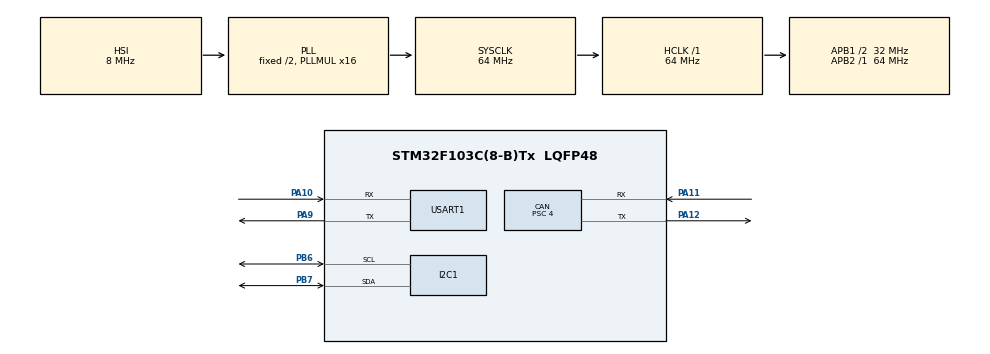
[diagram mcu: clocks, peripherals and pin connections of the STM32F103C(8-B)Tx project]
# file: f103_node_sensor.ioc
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CAN.BS1=CAN_BS1_13TQ
CAN.BS2=CAN_BS2_2TQ
CAN.CalculateBaudRate=500000
CAN.CalculateTimeBit=2000
CAN.CalculateTimeQuantum=125.0
CAN.Prescaler=4
I2C1.I2C_Mode=I2C_Fast
I2C1.OwnAddress=0x68
Mcu.Family=STM32F1
Mcu.Name=STM32F103C(8-B)Tx
Mcu.Package=LQFP48
NVIC.CAN1_RX1_IRQn=true\:0\:0\:false\:false\:true\:true\:true\:true
NVIC.I2C1_EV_IRQn=true\:0\:0\:false\:false\:true\:true\:true\:true
NVIC.PriorityGroup=NVIC_PRIORITYGROUP_4
PA10.Mode=Asynchronous
PA10.Signal=USART1_RX
PA11.Mode=CAN_Activate
PA11.Signal=CAN_RX
PA12.Mode=CAN_Activate
PA12.Signal=CAN_TX
PA13.Mode=Serial_Wire
PA13.Signal=SYS_JTMS-SWDIO
PA14.Mode=Serial_Wire
PA14.Signal=SYS_JTCK-SWCLK
PA9.Mode=Asynchronous
PA9.Signal=USART1_TX
PB6.Mode=I2C
PB6.Signal=I2C1_SCL
PB7.Mode=I2C
PB7.Signal=I2C1_SDA
ProjectManager.HeapSize=0x200
ProjectManager.StackSize=0x400
ProjectManager.TargetToolchain=STM32CubeIDE
RCC.AHBFreq_Value=64000000
RCC.APB1CLKDivider=RCC_HCLK_DIV2
RCC.APB1Freq_Value=32000000
RCC.APB1TimFreq_Value=64000000
RCC.APB2Freq_Value=64000000
RCC.APB2TimFreq_Value=64000000
RCC.HCLKFreq_Value=64000000
RCC.PLLMUL=RCC_PLL_MUL16
RCC.SYSCLKFreq_VALUE=64000000
RCC.SYSCLKSource=RCC_SYSCLKSOURCE_PLLCLK
RCC.USBFreq_Value=64000000
USART1.VirtualMode=VM_ASYNC
board=custom

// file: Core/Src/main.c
/* USER CODE BEGIN Header */
/**
  ******************************************************************************
  * @file           : main.c
  * @brief          : Main program body
  ******************************************************************************
  * @attention
  *
  * Copyright (c) 2026 STMicroelectronics.
  * All rights reserved.
  *
  * This software is licensed under terms that can be found in the LICENSE file
  * in the root directory of this software component.
  * If no LICENSE file comes with this software, it is provided AS-IS.
  *
  ******************************************************************************
  */
/* USER CODE END Header */
#include "main.h"
#include "can.h"
#include "i2c.h"
#include "usart.h"
#include "gpio.h"

/* USER CODE BEGIN Includes */
#include <string.h>
#include "debug.h"
#include "mpu6050.h"
#include "can_protocol.h"
/* USER CODE END Includes */

/* USER CODE BEGIN PD */
/* CAN_ID_ACCEL / CAN_ID_GYRO / CAN_AXES_DLC now live in can_protocol.h,
   the file this node shares with the receiver (f401_mcp2515_node). */
#define CAN_TIMEOUT_MS    100

/* ---- Rate experiment knobs --------------------------------------------
   Requested sampling period. 100 ms = 10 Hz is the normal setting; drop it
   to 10 or 5 to push the loop until it can no longer keep up. */
#define SAMPLE_PERIOD_MS  100

/* Per-sample UART line. This is the expensive part - about 3.5 ms at 115200
   baud - and it sits directly in the sampling path. Set to 0 to run the same
   rate without it and see how much of the shortfall it was responsible for.
   The once-a-second summary is printed either way. */
#define LOG_EVERY_SAMPLE  1

/* Order in which the two frames of each sample are handed to the controller.
   0 = accel then gyro (normal), 1 = gyro then accel.

   The bus is idle when the first frame is queued, so it starts transmitting
   at once and the order on the wire follows the call order. Under receiver
   saturation one message type survives ~90% of the time; swapping the order
   tells whether that follows a frame's position in the pair (a timing
   effect) or its identifier. */
#define SEND_GYRO_FIRST   0

#define STATS_PERIOD_MS   1000u
/* ----------------------------------------------------------------------- */
/* USER CODE END PD */

/* USER CODE BEGIN PV */
CAN_TxHeaderTypeDef TxHeader = {0};
uint8_t TxData[8];
uint32_t TxMailbox;

/* Rate-experiment counters, reset every STATS_PERIOD_MS. */
static uint32_t samples;
static uint32_t txFailures;
static uint32_t readFailures;
static uint32_t statsTick;
/* USER CODE END PV */

void SystemClock_Config(void);

/* USER CODE BEGIN 0 */
/* Returns false when the frame could not be handed to the controller, so the
   caller can count losses instead of only watching them scroll past. */
static bool CAN_SendFrame(uint32_t stdId, const uint8_t *data, uint8_t dlc)
{
  uint32_t tick = HAL_GetTick();

  while (HAL_CAN_GetTxMailboxesFreeLevel(&hcan) == 0)
  {
    if (HAL_GetTick() - tick > CAN_TIMEOUT_MS)
    {
      LOG("CAN TX timeout (id=0x%X)\r\n", (unsigned int)stdId);
      return false;
    }
  }

  TxHeader.StdId = stdId;
  TxHeader.DLC = dlc;
  memcpy(TxData, data, dlc);

  if (HAL_CAN_AddTxMessage(&hcan, &TxHeader, TxData, &TxMailbox) != HAL_OK)
  {
    LOG("CAN TX failed (id=0x%X)\r\n", (unsigned int)stdId);
    return false;
  }

  return true;
}
/* USER CODE END 0 */

int main(void)
{

  /* MCU Configuration--------------------------------------------------------*/

  /* Reset of all peripherals, Initializes the Flash interface and the Systick. */
  HAL_Init();

  /* Configure the system clock */
  SystemClock_Config();

  /* Initialize all configured peripherals */
  MX_GPIO_Init();
  MX_CAN_Init();
  MX_I2C1_Init();
  MX_USART1_UART_Init();
  /* USER CODE BEGIN 2 */
  // CAN filter setup. This node only transmits, so a filter is not needed
  // for reception; it is harmless and follows the CubeMX convention.
  CAN_FilterTypeDef canFilterConfig;
  canFilterConfig.FilterBank = 0;
  canFilterConfig.FilterMode = CAN_FILTERMODE_IDMASK;
  canFilterConfig.FilterScale = CAN_FILTERSCALE_32BIT;
  canFilterConfig.FilterIdHigh = 0x0000;
  canFilterConfig.FilterIdLow = 0x0000;
  canFilterConfig.FilterMaskIdHigh = 0x0000;
  canFilterConfig.FilterMaskIdLow = 0x0000;
  canFilterConfig.FilterFIFOAssignment = CAN_FILTER_FIFO0;
  canFilterConfig.FilterActivation = ENABLE;
  canFilterConfig.SlaveStartFilterBank = 14;
  if (HAL_CAN_ConfigFilter(&hcan, &canFilterConfig) != HAL_OK)
  {
    Error_Handler();
  }
  if (HAL_CAN_Start(&hcan) != HAL_OK)
  {
    Error_Handler();
  }

  TxHeader.ExtId = 0x00;
  TxHeader.IDE = CAN_ID_STD;
  TxHeader.RTR = CAN_RTR_DATA;
  TxHeader.TransmitGlobalTime = DISABLE;

  if (!MPU6050_Init(&hi2c1))
  {
    LOG("MPU6050 init FAILED (WHO_AM_I mismatch or I2C error)\r\n");
    Error_Handler();
  }
  LOG("MPU6050 OK\r\n");

  /* Calibration failure is not fatal: the bias stays at zero, the node keeps
     streaming, and the log says the data is uncorrected. Halting here would
     trade a known accuracy loss for a dead node. */
  LOG("calibrating gyro - keep the board still...\r\n");

  bool calibrated = MPU6050_CalibrateGyro(&hi2c1);
  int16_t bias[3];
  int16_t spread[3];
  MPU6050_GetGyroBias(bias);
  MPU6050_GetGyroCalSpread(spread);

  /* The spread is printed either way. It says how still the board actually
     was, which is the thing that decides whether the bias below is worth
     anything - a hand-held or wire-tugged board cannot be calibrated well no
     matter what the software does. */
  LOG("  movement (peak-to-peak) = %d,%d,%d LSB\r\n", spread[0], spread[1], spread[2]);

  if (calibrated)
  {
    LOG("  gyro bias = %d,%d,%d LSB\r\n", bias[0], bias[1], bias[2]);
  }
  else
  {
    LOG("  calibration REFUSED - board not still, bias left at 0\r\n");
  }
  /* USER CODE END 2 */

  statsTick = HAL_GetTick();

  /* Infinite loop */
  /* USER CODE BEGIN WHILE */
  while (1)
  {
    int16_t accel[3];
    int16_t gyro[3];

    if (MPU6050_ReadRaw(&hi2c1, accel, gyro))
    {
      uint8_t accelData[CAN_AXES_DLC];
      uint8_t gyroData[CAN_AXES_DLC];

      /* Packing lives in the shared header now; CAN_UnpackAxes on the
         receiving side is its exact inverse, and the two change together. */
      CAN_PackAxes(accel, accelData);
      CAN_PackAxes(gyro, gyroData);

#if SEND_GYRO_FIRST
      if (!CAN_SendFrame(CAN_ID_GYRO, gyroData, sizeof(gyroData)))
      {
        txFailures++;
      }
      if (!CAN_SendFrame(CAN_ID_ACCEL, accelData, sizeof(accelData)))
      {
        txFailures++;
      }
#else
      if (!CAN_SendFrame(CAN_ID_ACCEL, accelData, sizeof(accelData)))
      {
        txFailures++;
      }
      if (!CAN_SendFrame(CAN_ID_GYRO, gyroData, sizeof(gyroData)))
      {
        txFailures++;
      }
#endif

      samples++;

#if LOG_EVERY_SAMPLE
      LOG("accel=%d,%d,%d gyro=%d,%d,%d\r\n",
          accel[0], accel[1], accel[2], gyro[0], gyro[1], gyro[2]);
#endif
    }
    else
    {
      readFailures++;
      LOG("MPU6050 read FAILED\r\n");
    }

    /* Once a second, report what the loop ACTUALLY achieved rather than what
       it was asked for. The gap between the two is the point of the whole
       experiment: HAL_Delay waits SAMPLE_PERIOD_MS *on top of* however long
       sampling, transmitting and logging took, so the real period is always
       longer than requested - and it varies, because a longer line of digits
       takes longer to push out of the UART. */
    uint32_t elapsed = HAL_GetTick() - statsTick;
    if (elapsed >= STATS_PERIOD_MS)
    {
      /* Tenths of Hz in integer arithmetic: newlib-nano has no %f by default
         and pulling in floating-point printf for one diagnostic line is not
         a trade worth making. */
      uint32_t achievedTenths = (samples * 10000u) / elapsed;
#if SAMPLE_PERIOD_MS > 0
      uint32_t requestedTenths = 10000u / SAMPLE_PERIOD_MS;

      LOG("[tx] achieved %u.%u Hz of %u.%u Hz, txfail=%u rdfail=%u\r\n",
          (unsigned int)(achievedTenths / 10u), (unsigned int)(achievedTenths % 10u),
          (unsigned int)(requestedTenths / 10u), (unsigned int)(requestedTenths % 10u),
          (unsigned int)txFailures, (unsigned int)readFailures);
#else
      /* A zero period means "run flat out", so there is no requested rate to
         compare against - and computing one would divide by zero, which is
         undefined behaviour in C (on this core it silently yields 0). */
      LOG("[tx] achieved %u.%u Hz free-running, txfail=%u rdfail=%u\r\n",
          (unsigned int)(achievedTenths / 10u), (unsigned int)(achievedTenths % 10u),
          (unsigned int)txFailures, (unsigned int)readFailures);
#endif

      samples = 0;
      txFailures = 0;
      readFailures = 0;
      statsTick = HAL_GetTick();
    }

    HAL_Delay(SAMPLE_PERIOD_MS);
    /* USER CODE END WHILE */

  }
}

void SystemClock_Config(void)
{
  RCC_OscInitTypeDef RCC_OscInitStruct = {0};
  RCC_ClkInitTypeDef RCC_ClkInitStruct = {0};

  /** Initializes the RCC Oscillators according to the specified parameters
  * in the RCC_OscInitTypeDef structure.
  */
  RCC_OscInitStruct.OscillatorType = RCC_OSCILLATORTYPE_HSI;
  RCC_OscInitStruct.HSIState = RCC_HSI_ON;
  RCC_OscInitStruct.HSICalibrationValue = RCC_HSICALIBRATION_DEFAULT;
  RCC_OscInitStruct.PLL.PLLState = RCC_PLL_ON;
  RCC_OscInitStruct.PLL.PLLSource = RCC_PLLSOURCE_HSI_DIV2;
  RCC_OscInitStruct.PLL.PLLMUL = RCC_PLL_MUL16;
  if (HAL_RCC_OscConfig(&RCC_OscInitStruct) != HAL_OK)
  {
    Error_Handler();
  }

  /** Initializes the CPU, AHB and APB buses clocks
  */
  RCC_ClkInitStruct.ClockType = RCC_CLOCKTYPE_HCLK|RCC_CLOCKTYPE_SYSCLK
                              |RCC_CLOCKTYPE_PCLK1|RCC_CLOCKTYPE_PCLK2;
  RCC_ClkInitStruct.SYSCLKSource = RCC_SYSCLKSOURCE_PLLCLK;
  RCC_ClkInitStruct.AHBCLKDivider = RCC_SYSCLK_DIV1;
  RCC_ClkInitStruct.APB1CLKDivider = RCC_HCLK_DIV2;
  RCC_ClkInitStruct.APB2CLKDivider = RCC_HCLK_DIV1;

  if (HAL_RCC_ClockConfig(&RCC_ClkInitStruct, FLASH_LATENCY_2) != HAL_OK)
  {
    Error_Handler();
  }
}

void Error_Handler(void)
{
  __disable_irq();
  while (1)
  {
  }
}
